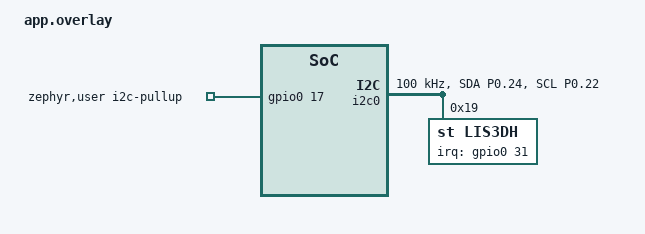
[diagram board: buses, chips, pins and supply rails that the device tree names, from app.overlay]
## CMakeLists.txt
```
cmake_minimum_required(VERSION 3.20.0)

find_package(Zephyr REQUIRED HINTS $ENV{ZEPHYR_BASE})

project(interrupt_lowpower_lis3dh)

target_sources(app PRIVATE src/main.c)
```

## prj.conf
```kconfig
CONFIG_GPIO=y
CONFIG_I2C=y

# Power management (needed for sys_poweroff)
CONFIG_PM=y
CONFIG_PM_DEVICE=y
CONFIG_POWEROFF=y

CONFIG_BUILD_OUTPUT_UF2=y

# No logging at all
CONFIG_LOG=y
CONFIG_PRINTK=y

# lpwr optimize
CONFIG_UART_CONSOLE=y
CONFIG_SERIAL=y
CONFIG_CONSOLE=y
```

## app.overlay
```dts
/ {
    zephyr,user {
        i2c-pullup-gpios = <&gpio0 17 GPIO_ACTIVE_HIGH>;
    };
};

&pinctrl {
    /* Define the Active State */
    i2c0_default: i2c0_default {
        group1 {
            psels = <NRF_PSEL(TWIM_SDA, 0, 24)>,
                    <NRF_PSEL(TWIM_SCL, 0, 22)>;
        };
    };

    /* Define the Low-Power Sleep State */
    i2c0_sleep: i2c0_sleep {
        group1 {
            psels = <NRF_PSEL(TWIM_SDA, 0, 24)>,
                    <NRF_PSEL(TWIM_SCL, 0, 22)>;
            low-power-enable;
        };
    };
};

&i2c0 {
    status = "okay";
    /* Point to BOTH default and sleep states to satisfy Nordic's pinctrl engine */
    pinctrl-0 = <&i2c0_default>;
    pinctrl-1 = <&i2c0_sleep>;
    pinctrl-names = "default", "sleep";
    
    clock-frequency = <100000>; 

    lis3dh: lis3dh@19 {
        compatible = "st,lis3dh", "st,lis2dh";
        reg = <0x19>;
        
        /* Interrupt pin on P0.31 */
        irq-gpios = <&gpio0 31 (GPIO_ACTIVE_HIGH | GPIO_PULL_DOWN)>;
        anym-on-int1; 
    };
};
```

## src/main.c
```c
#include <zephyr/kernel.h>
#include <zephyr/device.h>
#include <zephyr/devicetree.h>
#include <zephyr/drivers/gpio.h>
#include <zephyr/drivers/i2c.h>
#include <zephyr/logging/log.h>
#include <zephyr/pm/device.h>
#include <zephyr/sys/poweroff.h>

#include <hal/nrf_gpio.h>

LOG_MODULE_REGISTER(motion_app, LOG_LEVEL_INF);

/* -------------------------------------------------------------------------- */
/* Hardware definitions (all sourced from the devicetree)                      */
/* -------------------------------------------------------------------------- */

static const struct device *const gpio0_dev = DEVICE_DT_GET(DT_NODELABEL(gpio0));
static const struct device *const i2c_dev   = DEVICE_DT_GET(DT_NODELABEL(i2c0));

static const struct gpio_dt_spec led0 =
    GPIO_DT_SPEC_GET(DT_ALIAS(led0), gpios);
static const struct gpio_dt_spec pullup_pin =
    GPIO_DT_SPEC_GET(DT_PATH(zephyr_user), i2c_pullup_gpios);
static const struct gpio_dt_spec imu_int =
    GPIO_DT_SPEC_GET(DT_NODELABEL(lis3dh), irq_gpios);

#define LIS3DH_ADDR     DT_REG_ADDR(DT_NODELABEL(lis3dh))
#define WAIT_WINDOW_MS  5000  /* Time window to wait for the 2nd pulse */

/* -------------------------------------------------------------------------- */
/* LIS3DH motion-int register setup                                            */
/* -------------------------------------------------------------------------- */

#define LIS3DH_REG_CTRL1   0x20
#define LIS3DH_REG_CTRL2   0x21
#define LIS3DH_REG_CTRL3   0x22
#define LIS3DH_REG_CTRL4   0x23
#define LIS3DH_REG_CTRL5   0x24
#define LIS3DH_REG_CTRL6   0x25
#define LIS3DH_REG_INT1CFG 0x30
#define LIS3DH_REG_INT1THS 0x32
#define LIS3DH_REG_INT1DUR 0x33

static const struct {
    uint8_t reg;
    uint8_t value;
} lis3dh_config[] = {
    { LIS3DH_REG_CTRL1,   0b01011111 }, /* 50 Hz low-power mode, X/Y/Z active     */
    { LIS3DH_REG_CTRL2,   0x09 },       /* High-pass filter enabled for INT1      */
    { LIS3DH_REG_CTRL3,   0x40 },       /* Route INT1 event to INT1 physical pin  */
    { LIS3DH_REG_CTRL4,   0b00010000 }, /* +/-4g scale                            */
    { LIS3DH_REG_CTRL5,   0x00 },       /* Non-latched (clears when motion stops) */
    { LIS3DH_REG_CTRL6,   0x00 },       /* Active HIGH interrupt output           */
    { LIS3DH_REG_INT1THS, 0x02 },       /* Motion threshold                       */
    { LIS3DH_REG_INT1DUR, 0x02 },       /* Short duration filter                  */
    { LIS3DH_REG_INT1CFG, 0x2A },       /* Motion on X, Y or Z high               */
};

static int lis3dh_configure_motion_int(const struct device *i2c)
{
    for (size_t i = 0; i < ARRAY_SIZE(lis3dh_config); i++) {
        int rc = i2c_reg_write_byte(i2c, LIS3DH_ADDR,
                                    lis3dh_config[i].reg, lis3dh_config[i].value);
        if (rc < 0) {
            LOG_ERR("I2C write failed (reg 0x%02X, rc %d)", lis3dh_config[i].reg, rc);
            return rc;
        }
    }
    return 0;
}

/* -------------------------------------------------------------------------- */
/* LED helpers                                                                 */
/* -------------------------------------------------------------------------- */

static void led_set(bool on)
{
    if (device_is_ready(led0.port)) {
        gpio_pin_set_dt(&led0, on);
    }
}

/* -------------------------------------------------------------------------- */
/* Device PM helpers                                                           */
/* -------------------------------------------------------------------------- */

static void device_set_power(const struct device *dev, enum pm_device_action action)
{
    int rc = pm_device_action_run(dev, action);

    if (rc < 0) {
        LOG_WRN("PM action %d on %s failed (rc %d)", action, dev->name, rc);
    }
}

/* -------------------------------------------------------------------------- */
/* Ultra-low power System OFF entry                                            */
/* -------------------------------------------------------------------------- */

static void prepare_system_off(void)
{
    LOG_INF("Preparing for ultra-low power System OFF entry...");
    led_set(false);

    /*
     * Re-arm the wake-up source before freezing the clock. The LIS3DH
     * outputs Active HIGH on motion, so pull its INT pin down and
     * configure the input to sense a rising edge.
     */
    nrf_gpio_cfg_sense_input(imu_int.pin, NRF_GPIO_PIN_PULLDOWN,
                             NRF_GPIO_PIN_SENSE_HIGH);

    /* Let the UART flush pending log lines before the clock stops. */
    k_msleep(10);
    
    sys_poweroff();
}

/* -------------------------------------------------------------------------- */
/* State shared between the ISR and main                                       */
/* -------------------------------------------------------------------------- */

static struct gpio_callback imu_cb;
static struct k_sem second_pulse_sem;

/* -------------------------------------------------------------------------- */
/* Interrupt handler for the 2nd pulse                                         */
/* -------------------------------------------------------------------------- */

static void imu_gpio_isr(const struct device *dev, struct gpio_callback *cb,
                         uint32_t pins)
{
    ARG_UNUSED(dev);
    ARG_UNUSED(cb);
    ARG_UNUSED(pins);

    /* Signal the main thread that a 2nd pulse arrived. */
    k_sem_give(&second_pulse_sem);
}

/* -------------------------------------------------------------------------- */
/* Payload executed once the 2nd motion pulse is confirmed                     */
/* -------------------------------------------------------------------------- */

static void execute_tracker_payload_logic(void)
{
    LOG_INF("SECOND PULSE CONFIRMED! Executing task...");

    led_set(true);
    k_msleep(2000);  /* Simulate modem TX, payload generation, heavy processing */
    led_set(false);
}

/* -------------------------------------------------------------------------- */
/* Main                                                                        */
/* -------------------------------------------------------------------------- */

int main(void)
{
    LOG_INF("System Booted / Woken From OFF Mode");

    int err = gpio_pin_configure_dt(&pullup_pin, GPIO_OUTPUT_ACTIVE);
    if (err < 0) {
        LOG_ERR("Failed to configure pullup power pin: %d", err);
        return err;
    }

    if (!device_is_ready(gpio0_dev) || !device_is_ready(i2c_dev)) {
        LOG_ERR("Hardware peripherals not ready");
        return -ENODEV;
    }

    gpio_pin_configure_dt(&led0, GPIO_OUTPUT_INACTIVE);

    k_sem_init(&second_pulse_sem, 0, 1);

    /* 1. Keep the LIS3DH motion engine armed */
    err = lis3dh_configure_motion_int(i2c_dev);
    if (err < 0) {
        LOG_ERR("Failed to configure LIS3DH (rc %d)", err);
        return -EIO;
    }

    /*
     * The I2C bus is no longer needed until the next sensor transaction, so
     * suspend the TWIM peripheral now. It stays off for the whole wait window
     * and only gets resumed right before any future i2c_*() call.
     */
    device_set_power(i2c_dev, PM_DEVICE_ACTION_SUSPEND);

    /* 2. Listen for the 2nd pulse on the INT pin (fallback wake source) */
    gpio_pin_configure_dt(&imu_int, GPIO_INPUT);
    gpio_pin_interrupt_configure_dt(&imu_int, GPIO_INT_EDGE_TO_ACTIVE);
    gpio_init_callback(&imu_cb, imu_gpio_isr, BIT(imu_int.pin));
    gpio_add_callback(imu_int.port, &imu_cb);

    LOG_INF("First pulse woke MCU. Listening for 2nd pulse (Window: %d ms)...",
            WAIT_WINDOW_MS);

    /* 3. Wait for the 2nd pulse within a window to discard false positives */
    if (k_sem_take(&second_pulse_sem, K_MSEC(WAIT_WINDOW_MS)) == 0) {
        execute_tracker_payload_logic();
    } else {
        LOG_WRN("No 2nd pulse within %d ms (false positive).", WAIT_WINDOW_MS);
    }

    /* 4. Enter ultra-low power System OFF */
    prepare_system_off();

    return 0;
}
```
